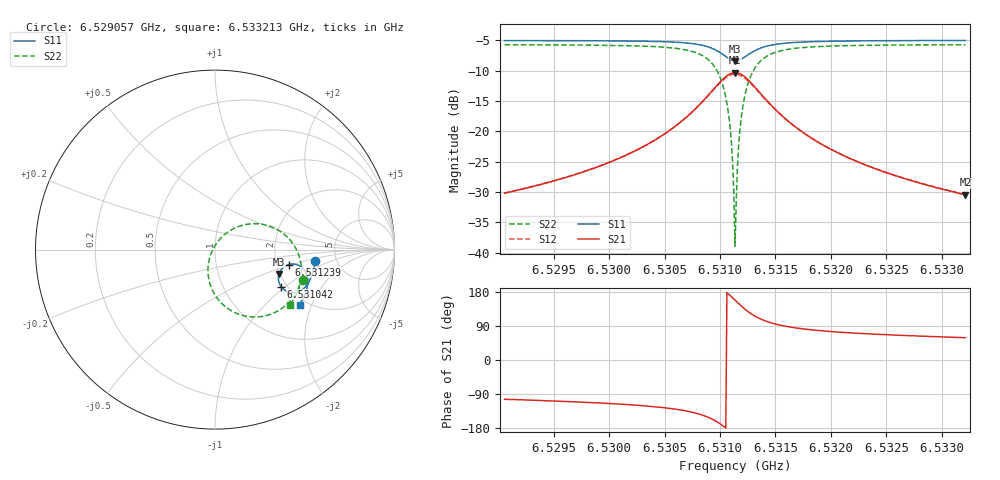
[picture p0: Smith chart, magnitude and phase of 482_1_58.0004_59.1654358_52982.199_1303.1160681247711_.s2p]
#  HZ  S  RI  R  50.00
! Rohde & Schwarz Vector Network Analyzer
! Rohde-Schwarz,ZNB20-2Port,1311601062101988,3.16
! Created: UTC 3/21/2024, 1:11:54 AM
! freq[Hz]  re:S11  im:S11  re:S21  im:S21  re:S12  im:S12  re:S22  im:S22
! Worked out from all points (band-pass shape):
!   401 points, 6.529057 GHz to 6.533213 GHz, reference 50 ohm
!   highest |S21| = -10.29 dB at 6.531135 GHz (marker M1); lowest = -30.4 dB at 6.533213 GHz (marker M2)
!   |S21| within 3 dB of the highest: 6.530929 GHz to 6.531344 GHz (415.1 kHz wide, 0.00636 % of centre)
!   lowest |S11| = -8.4 dB at 6.531135 GHz (marker M3), VSWR 2.24, Z = 98.7 - j31.5 ohm
!   |S11| at or under -10 dB: nowhere
!   |S22| runs from -38.9 to -5.7 dB; largest |S21 - S12| = 0.012
!   S11 on the Smith chart (normalised r, x): 6.529057 GHz: 3.43, -0.64; 6.531042 GHz: 1.86, -0.93; 6.531239 GHz: 2.34, -0.47; 6.533213 GHz: 1.82, -1.64
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6.5290571e9  0.5573 -0.0639  -0.00723 -0.0301  -0.00777 -0.0299  0.4913 -0.1677
6.5297532e9  0.5466 -0.1217  -0.0167 -0.0428  -0.0177 -0.0426  0.4604 -0.2322
6.5304493e9  0.5178 -0.1902  -0.0503 -0.0733  -0.0524 -0.0721  0.3795 -0.3231
6.5306883e9  0.4905 -0.22  -0.09 -0.0926  -0.0926 -0.0897  0.2991 -0.3637
6.5308649e9  0.4469 -0.2388  -0.1575 -0.0988  -0.1599 -0.0924  0.1733 -0.3709
6.5309688e9  0.4025 -0.2332  -0.2267 -0.0723  -0.226 -0.0631  0.0559 -0.3164
6.5310415e9  0.3681 -0.2058  -0.2777 -0.014  -0.2721 -0.00436  -0.0216 -0.21
6.5310831e9  0.3554 -0.178  -0.2935 0.0387  -0.2847 0.0467  -0.0393 -0.1196
6.5311039e9  0.3532 -0.1616  -0.294 0.0686  -0.2841 0.0748  -0.0354 -0.07
6.5311143e9  0.3532 -0.1532  -0.2921 0.0839  -0.2817 0.0891  -0.0298 -0.0454
6.5311246e9  0.3545 -0.1448  -0.2887 0.0991  -0.2781 0.1034  -0.0216 -0.0211
6.531135e9  0.3566 -0.1364  -0.2838 0.1137  -0.2729 0.1174  -0.0111 0.00242
6.5311454e9  0.3596 -0.1283  -0.2773 0.128  -0.2665 0.1305  0.00165 0.0248
6.5311558e9  0.3632 -0.1208  -0.2694 0.1415  -0.2588 0.143  0.0165 0.0457
6.5311662e9  0.3679 -0.1136  -0.2604 0.1542  -0.2501 0.1548  0.0332 0.0649
6.531187e9  0.3788 -0.1012  -0.2395 0.1759  -0.2301 0.1747  0.071 0.0973
6.5312389e9  0.4121 -0.083  -0.1792 0.2078  -0.1726 0.2045  0.1758 0.1408
6.5313117e9  0.4548 -0.0835  -0.1038 0.2096  -0.1005 0.2065  0.303 0.131
6.5314156e9  0.4921 -0.1063  -0.0392 0.1783  -0.0376 0.1766  0.4086 0.0643
6.5318311e9  0.5172 -0.1862  0.016 0.0859  0.017 0.0856  0.4814 -0.1281
6.5325272e9  0.4978 -0.2575  0.0179 0.0411  0.0187 0.0409  0.4534 -0.2452
6.533213e9  0.4708 -0.3082  0.0155 0.0257  0.0162 0.0256  0.4188 -0.306
